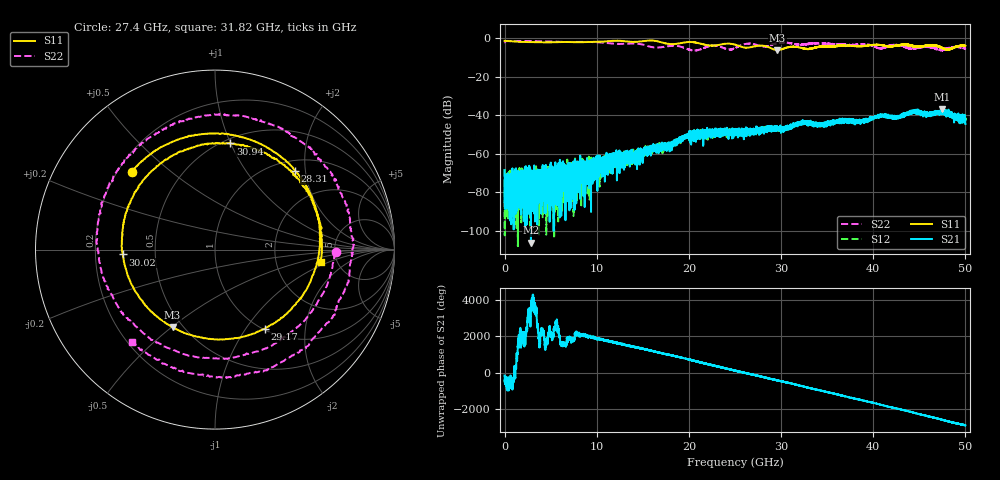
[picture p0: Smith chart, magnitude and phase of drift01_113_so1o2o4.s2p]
!Created with skrf (http://scikit-rf.org).
# Hz S RI R 50.0
!freq ReS11 ImS11 ReS21 ImS21 ReS12 ImS12 ReS22 ImS22
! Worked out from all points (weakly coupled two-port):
!   10001 points, 300 kHz to 50 GHz, reference 50 ohm
!   highest |S21| = -36.87 dB at 47.46 GHz (marker M1); lowest = -106.1 dB at 2.855 GHz (marker M2)
!   lowest |S11| = -6.2 dB at 29.6 GHz (marker M3), VSWR 2.93, Z = 22.1 - j25.2 ohm
!   |S11| at or under -10 dB: nowhere
!   |S22| runs from -6.4 to -1.4 dB; largest |S21 - S12| = 0.0047
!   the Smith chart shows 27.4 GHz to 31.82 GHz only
!   S11 on the Smith chart (normalised r, x): 27.4 GHz: 0.26, +0.37; 28.31 GHz: 1.22, +1.76; 29.17 GHz: 1.01, -1.23; 30.02 GHz: 0.32, -0.02; 30.94 GHz: 0.54, +1.00; 31.82 GHz: 3.73, -0.78
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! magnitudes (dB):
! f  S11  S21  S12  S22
! 300 kHz  -1.3  -68.4  -67.8  -2.1
! 255.3 MHz  -1.4  -88.2  -77.0  -1.4
! 2.855 GHz  -2.0  -106.1  -78.7  -1.4
! 5.48 GHz  -2.0  -69.6  -79.5  -1.7
! 8.335 GHz  -2.0  -66.5  -69.3  -1.8
! 16.67 GHz  -1.6  -58.7  -55.4  -4.8
! 18.62 GHz  -2.9  -53.6  -54.1  -3.9
! 20.36 GHz  -1.9  -52.0  -49.4  -6.2
! 22.62 GHz  -3.8  -49.1  -48.7  -3.8
! 25 GHz  -3.3  -50.5  -48.6  -5.0
! 27.4 GHz  -3.9  -48.8  -47.1  -3.5
! 28.31 GHz  -4.1  -46.8  -46.0  -4.3
! 29.17 GHz  -5.7  -47.0  -46.4  -3.1
! 29.6 GHz  -6.2  -46.6  -46.7  -2.6
! 30.02 GHz  -5.8  -47.7  -46.9  -2.3
! 30.94 GHz  -4.5  -46.4  -46.5  -2.5
! 31.82 GHz  -4.5  -43.6  -44.3  -3.2
! 33.34 GHz  -5.3  -44.2  -44.4  -2.7
! 41.67 GHz  -4.2  -40.3  -40.9  -4.2
! 44.41 GHz  -4.0  -38.0  -38.6  -5.3
! 47.46 GHz  -4.9  -36.9  -37.9  -6.0
! 50 GHz  -3.9  -44.5  -41.3  -5.3
